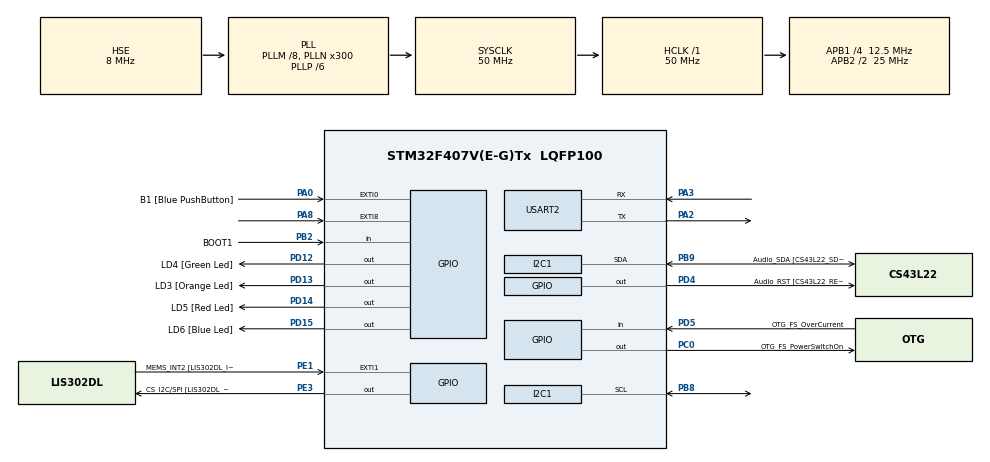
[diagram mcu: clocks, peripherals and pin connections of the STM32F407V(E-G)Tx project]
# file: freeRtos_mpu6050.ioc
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FREERTOS.Tasks01=defaultTask,24,128,StartDefaultTask,Default,NULL,Dynamic,NULL,NULL;SensorReadTask_,32,128,sensor_read_task,Default,NULL,Dynamic,NULL,NULL;PWMControlTask_,40,128,pwm_control_task,Default,NULL,Dynamic,NULL,NULL
FREERTOS.configUSE_NEWLIB_REENTRANT=1
I2C1.I2C_Mode=I2C_Fast
Mcu.Family=STM32F4
Mcu.Name=STM32F407V(E-G)Tx
Mcu.Package=LQFP100
NVIC.EXTI9_5_IRQn=true\:5\:0\:false\:false\:true\:true\:true\:true\:true
NVIC.PriorityGroup=NVIC_PRIORITYGROUP_4
NVIC.TIM6_DAC_IRQn=true\:15\:0\:false\:false\:true\:false\:false\:true\:true
NVIC.TimeBase=TIM6_DAC_IRQn
NVIC.TimeBaseIP=TIM6
PA0-WKUP.GPIO_Label=B1 [Blue PushButton]
PA0-WKUP.GPIO_ModeDefaultEXTI=GPIO_MODE_EVT_RISING
PA0-WKUP.GPIO_PuPd=GPIO_NOPULL
PA0-WKUP.Signal=GPXTI0
PA13.GPIO_Label=SWDIO
PA13.Mode=Serial_Wire
PA13.Signal=SYS_JTMS-SWDIO
PA14.GPIO_Label=SWCLK
PA14.Mode=Serial_Wire
PA14.Signal=SYS_JTCK-SWCLK
PA2.GPIO_PuPd=GPIO_PULLUP
PA2.Mode=Asynchronous
PA2.Signal=USART2_TX
PA3.GPIO_PuPd=GPIO_PULLUP
PA3.Mode=Asynchronous
PA3.Signal=USART2_RX
PA8.GPIO_PuPd=GPIO_PULLUP
PA8.Signal=GPXTI8
PB10.GPIO_Label=CLK_IN [MP45DT02_CLK]
PB10.GPIO_Mode=GPIO_MODE_AF_PP
PB10.GPIO_PuPd=GPIO_NOPULL
PB10.GPIO_Speed=GPIO_SPEED_FREQ_LOW
PB10.Signal=I2S2_CK
PB2.GPIO_Label=BOOT1
PB2.GPIO_Mode=GPIO_MODE_INPUT
PB2.GPIO_PuPd=GPIO_NOPULL
PB2.Signal=GPIO_Input
PB3.GPIO_Label=SWO
PB3.Signal=SYS_JTDO-SWO
PB8.Mode=I2C
PB8.Signal=I2C1_SCL
PB9.GPIO_Label=Audio_SDA [CS43L22_SDA]
PB9.GPIO_Mode=GPIO_MODE_AF_OD
PB9.GPIO_Pu=GPIO_PULLUP
PB9.GPIO_PuPd=GPIO_NOPULL
PB9.GPIO_Speed=GPIO_SPEED_FREQ_LOW
PB9.Mode=I2C
PB9.Signal=I2C1_SDA
PC0.GPIO_Label=OTG_FS_PowerSwitchOn
PC0.GPIO_PuPd=GPIO_NOPULL
PC0.GPIO_Speed=GPIO_SPEED_FREQ_LOW
PC0.PinState=GPIO_PIN_SET
PC0.Signal=GPIO_Output
PC10.GPIO_Label=I2S3_SCK [CS43L22_SCLK]
PC10.GPIO_Mode=GPIO_MODE_AF_PP
PC10.GPIO_PuPd=GPIO_NOPULL
PC10.GPIO_Speed=GPIO_SPEED_FREQ_LOW
PC10.Signal=I2S3_CK
PC12.GPIO_Label=I2S3_SD [CS43L22_SDIN]
PC12.GPIO_Mode=GPIO_MODE_AF_PP
PC12.GPIO_PuPd=GPIO_NOPULL
PC12.GPIO_Speed=GPIO_SPEED_FREQ_LOW
PC12.Signal=I2S3_SD
PC14-OSC32_IN.GPIO_Label=PC14-OSC32_IN
PC14-OSC32_IN.Mode=LSE-External-Oscillator
PC14-OSC32_IN.Signal=RCC_OSC32_IN
PC15-OSC32_OUT.GPIO_Label=PC15-OSC32_OUT
PC15-OSC32_OUT.Mode=LSE-External-Oscillator
PC15-OSC32_OUT.Signal=RCC_OSC32_OUT
PC3.GPIO_Label=PDM_OUT [MP45DT02_DOUT]
PC3.GPIO_Mode=GPIO_MODE_AF_PP
PC3.GPIO_PuPd=GPIO_NOPULL
PC3.GPIO_Speed=GPIO_SPEED_FREQ_LOW
PC3.Signal=I2S2_SD
PD12.GPIO_Label=LD4 [Green Led]
PD12.GPIO_PuPd=GPIO_NOPULL
PD12.GPIO_Speed=GPIO_SPEED_FREQ_LOW
PD12.Signal=GPIO_Output
PD13.GPIO_Label=LD3 [Orange Led]
PD13.GPIO_PuPd=GPIO_NOPULL
PD13.GPIO_Speed=GPIO_SPEED_FREQ_LOW
PD13.Signal=GPIO_Output
PD14.GPIO_Label=LD5 [Red Led]
PD14.GPIO_PuPd=GPIO_NOPULL
PD14.GPIO_Speed=GPIO_SPEED_FREQ_LOW
PD14.Signal=GPIO_Output
PD15.GPIO_Label=LD6 [Blue Led]
PD15.GPIO_PuPd=GPIO_NOPULL
PD15.GPIO_Speed=GPIO_SPEED_FREQ_LOW
PD15.Signal=GPIO_Output
PD4.GPIO_Label=Audio_RST [CS43L22_RESET]
PD4.GPIO_PuPd=GPIO_NOPULL
PD4.GPIO_Speed=GPIO_SPEED_FREQ_LOW
PD4.Signal=GPIO_Output
PD5.GPIO_Label=OTG_FS_OverCurrent
PD5.GPIO_Mode=GPIO_MODE_INPUT
PD5.GPIO_PuPd=GPIO_NOPULL
PD5.Signal=GPIO_Input
PE1.GPIO_Label=MEMS_INT2 [LIS302DL_INT2]
PE1.GPIO_ModeDefaultEXTI=GPIO_MODE_EVT_RISING
PE1.GPIO_PuPd=GPIO_NOPULL
PE1.Signal=GPXTI1
PE3.GPIO_Label=CS_I2C/SPI [LIS302DL_CS_I2C/SPI]
PE3.GPIO_PuPd=GPIO_NOPULL
PE3.GPIO_Speed=GPIO_SPEED_FREQ_LOW
PE3.Signal=GPIO_Output
PH0-OSC_IN.GPIO_Label=PH0-OSC_IN
PH0-OSC_IN.Mode=HSE-External-Oscillator
PH0-OSC_IN.Signal=RCC_OSC_IN
PH1-OSC_OUT.GPIO_Label=PH1-OSC_OUT
PH1-OSC_OUT.Mode=HSE-External-Oscillator
PH1-OSC_OUT.Signal=RCC_OSC_OUT
ProjectManager.HeapSize=0x200
ProjectManager.StackSize=0x400
ProjectManager.TargetToolchain=STM32CubeIDE
RCC.48MHZClocksFreq_Value=42857142.85714286
RCC.AHBFreq_Value=50000000
RCC.APB1CLKDivider=RCC_HCLK_DIV4
RCC.APB1Freq_Value=12500000
RCC.APB1TimFreq_Value=25000000
RCC.APB2CLKDivider=RCC_HCLK_DIV2
RCC.APB2Freq_Value=25000000
RCC.APB2TimFreq_Value=50000000
RCC.CortexFreq_Value=50000000
RCC.HCLKFreq_Value=50000000
RCC.HSE_VALUE=8000000
RCC.HSI_VALUE=16000000
RCC.PLLM=8
RCC.PLLN=300
RCC.PLLP=RCC_PLLP_DIV6
RCC.PLLQ=7
RCC.PLLSourceVirtual=RCC_PLLSOURCE_HSE
RCC.SYSCLKFreq_VALUE=50000000
RCC.SYSCLKSource=RCC_SYSCLKSOURCE_PLLCLK
RCC.VCOOutputFreq_Value=300000000
USART2.VirtualMode=VM_ASYNC
VP_FREERTOS_VS_CMSIS_V2.Mode=CMSIS_V2
VP_SYS_VS_tim6.Mode=TIM6
board=STM32F407G-DISC1

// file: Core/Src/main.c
/* USER CODE BEGIN Header */
/**
  ******************************************************************************
  * @file           : main.c
  * @brief          : Main program body
  ******************************************************************************
  * @attention
  *
  * Copyright (c) 2026 STMicroelectronics.
  * All rights reserved.
  *
  * This software is licensed under terms that can be found in the LICENSE file
  * in the root directory of this software component.
  * If no LICENSE file comes with this software, it is provided AS-IS.
  *
  ******************************************************************************
  */
/* USER CODE END Header */
#include "main.h"
#include "cmsis_os.h"

/* USER CODE BEGIN Includes */
#include "stdio.h"
#include "string.h"
#include "mpu6050.h"
#include<stdarg.h>
#include <math.h>
#include "kalman_filter.h"
#include <limits.h>
/* USER CODE END Includes */

/* USER CODE BEGIN PD */
#define 	TRUE	1
#define 	FALSE	0

#define ANGLE_POS_MIN 0
#define ANGLE_POS_MAX 90

#define PWM_PULSE_MIN 0
#define PWM_PULSE_MAX 1000
/* USER CODE END PD */

I2C_HandleTypeDef hi2c1;

UART_HandleTypeDef huart2;

/* Definitions for defaultTask */
osThreadId_t defaultTaskHandle;
const osThreadAttr_t defaultTask_attributes = {
  .name = "defaultTask",
  .stack_size = 128 * 4,
  .priority = (osPriority_t) osPriorityNormal,
};
/* Definitions for SensorReadTask_ */
osThreadId_t SensorReadTask_Handle;
const osThreadAttr_t SensorReadTask__attributes = {
  .name = "SensorReadTask_",
  .stack_size = 128 * 4,
  .priority = (osPriority_t) osPriorityAboveNormal,
};
/* Definitions for PWMControlTask_ */
osThreadId_t PWMControlTask_Handle;
const osThreadAttr_t PWMControlTask__attributes = {
  .name = "PWMControlTask_",
  .stack_size = 128 * 4,
  .priority = (osPriority_t) osPriorityHigh,
};
/* USER CODE BEGIN PV */
TIM_HandleTypeDef htim4;

uint32_t g_counter = 0;
volatile uint32_t g_channel_1_state = 800;
volatile uint32_t g_channel_2_state = 400;
float kalman_angle;

const mpu6050_accel_data_t error_data = {
		.x = 250,
		.y = -200,
		.z =156
};
/* USER CODE END PV */

void SystemClock_Config(void);
static void MX_GPIO_Init(void);
static void MX_I2C1_Init(void);
static void MX_USART2_UART_Init(void);
void StartDefaultTask(void *argument);
void sensor_read_task(void *argument);
void pwm_control_task(void *argument);

/* USER CODE BEGIN PFP */
void Timer4_init(void);
/* USER CODE END PFP */

/* USER CODE BEGIN 0 */
long map(long x,long in_min,long in_max,long out_min,long out_max){

	long result = ((x-in_min)*(out_max-out_min)/(in_max -in_min))+out_min;

	if(result > out_max){
		result=out_max;
	}
	else if(result <out_min){
		result=out_min;
	}

	return result;
}

void change_pwm_duty_cycle(uint32_t pulse,uint8_t channel){
	__HAL_TIM_SET_COMPARE(&htim4,channel,pulse);
}

void HAL_GPIO_EXTI_Callback(uint16_t GPIO_Pin)
{

	if(GPIO_Pin == GPIO_PIN_8){
		mpu6050_interrupt_handle(&hi2c1);
	}
}

void HAL_TIM_PWM_PulseFinishedCallback(TIM_HandleTypeDef *htim)
{

	if(htim->Channel == HAL_TIM_ACTIVE_CHANNEL_1)
	g_channel_1_state = 0;

	if(htim->Channel == HAL_TIM_ACTIVE_CHANNEL_2)
	g_channel_2_state = 0;
}
/* USER CODE END 0 */

int main(void)
{

  /* MCU Configuration--------------------------------------------------------*/

  /* Reset of all peripherals, Initializes the Flash interface and the Systick. */
  HAL_Init();

  /* Configure the system clock */
  SystemClock_Config();

  /* Initialize all configured peripherals */
  MX_GPIO_Init();
  MX_I2C1_Init();
  MX_USART2_UART_Init();
  /* USER CODE BEGIN 2 */

  Timer4_init();

	__HAL_TIM_ENABLE_IT(&htim4,TIM_IT_UPDATE);//updateevent interrupt enable ediliyor

	HAL_TIM_PWM_Start_IT(&htim4, TIM_CHANNEL_1);
	HAL_TIM_PWM_Start_IT(&htim4, TIM_CHANNEL_2);

	if(mpu6050_init(&hi2c1)!= MPU6050_OK){
		printmsg("error occured when MPU6050 init\r\n");
	}
	else{
		printmsg("mpu6050 initializition done succesfully\r\n");
	}

	mpu6050_disable_interrupts(&hi2c1, ALL_INT);
	mpu6050_interrupt_config(&hi2c1, INT_LEVEL_ACTIVE_HIGH);
	mpu6050_enable_interrupts(&hi2c1, RAW_RDY_INT);

	if(mpu6050_Set_LPF(&hi2c1, MPU6050_BANDWITH_20)!=MPU6050_OK){
		Error_Handler();
	}
  /* USER CODE END 2 */

  /* Init scheduler */
  osKernelInitialize();

  /* Create the thread(s) */
  /* creation of defaultTask */
  defaultTaskHandle = osThreadNew(StartDefaultTask, NULL, &defaultTask_attributes);

  /* creation of SensorReadTask_ */
  SensorReadTask_Handle = osThreadNew(sensor_read_task, NULL, &SensorReadTask__attributes);

  /* creation of PWMControlTask_ */
  PWMControlTask_Handle = osThreadNew(pwm_control_task, NULL, &PWMControlTask__attributes);

  /* Start scheduler */
  osKernelStart();

  /* We should never get here as control is now taken by the scheduler */

  /* Infinite loop */
  while (1)
  {

    /* USER CODE BEGIN 3 */

#ifdef PWM_DEBUG
		g_counter = __HAL_TIM_GET_COUNTER(&htim4);
#endif

  }
  /* USER CODE END 3 */
}

void SystemClock_Config(void)
{
  RCC_OscInitTypeDef RCC_OscInitStruct = {0};
  RCC_ClkInitTypeDef RCC_ClkInitStruct = {0};

  /** Configure the main internal regulator output voltage
  */
  __HAL_RCC_PWR_CLK_ENABLE();
  __HAL_PWR_VOLTAGESCALING_CONFIG(PWR_REGULATOR_VOLTAGE_SCALE1);

  /** Initializes the RCC Oscillators according to the specified parameters
  * in the RCC_OscInitTypeDef structure.
  */
  RCC_OscInitStruct.OscillatorType = RCC_OSCILLATORTYPE_HSE;
  RCC_OscInitStruct.HSEState = RCC_HSE_ON;
  RCC_OscInitStruct.PLL.PLLState = RCC_PLL_ON;
  RCC_OscInitStruct.PLL.PLLSource = RCC_PLLSOURCE_HSE;
  RCC_OscInitStruct.PLL.PLLM = 8;
  RCC_OscInitStruct.PLL.PLLN = 300;
  RCC_OscInitStruct.PLL.PLLP = RCC_PLLP_DIV6;
  RCC_OscInitStruct.PLL.PLLQ = 7;
  if (HAL_RCC_OscConfig(&RCC_OscInitStruct) != HAL_OK)
  {
    Error_Handler();
  }

  /** Initializes the CPU, AHB and APB buses clocks
  */
  RCC_ClkInitStruct.ClockType = RCC_CLOCKTYPE_HCLK|RCC_CLOCKTYPE_SYSCLK
                              |RCC_CLOCKTYPE_PCLK1|RCC_CLOCKTYPE_PCLK2;
  RCC_ClkInitStruct.SYSCLKSource = RCC_SYSCLKSOURCE_PLLCLK;
  RCC_ClkInitStruct.AHBCLKDivider = RCC_SYSCLK_DIV1;
  RCC_ClkInitStruct.APB1CLKDivider = RCC_HCLK_DIV4;
  RCC_ClkInitStruct.APB2CLKDivider = RCC_HCLK_DIV2;

  if (HAL_RCC_ClockConfig(&RCC_ClkInitStruct, FLASH_LATENCY_1) != HAL_OK)
  {
    Error_Handler();
  }
}

static void MX_I2C1_Init(void)
{

  hi2c1.Instance = I2C1;
  hi2c1.Init.ClockSpeed = 400000;
  hi2c1.Init.DutyCycle = I2C_DUTYCYCLE_2;
  hi2c1.Init.OwnAddress1 = 0;
  hi2c1.Init.AddressingMode = I2C_ADDRESSINGMODE_7BIT;
  hi2c1.Init.DualAddressMode = I2C_DUALADDRESS_DISABLE;
  hi2c1.Init.OwnAddress2 = 0;
  hi2c1.Init.GeneralCallMode = I2C_GENERALCALL_DISABLE;
  hi2c1.Init.NoStretchMode = I2C_NOSTRETCH_DISABLE;
  if (HAL_I2C_Init(&hi2c1) != HAL_OK)
  {
    Error_Handler();
  }
  /* USER CODE BEGIN I2C1_Init 2 */

	//hi2c.Init.ClockSpeed=400000;

  /* USER CODE END I2C1_Init 2 */

}

static void MX_USART2_UART_Init(void)
{

  huart2.Instance = USART2;
  huart2.Init.BaudRate = 115200;
  huart2.Init.WordLength = UART_WORDLENGTH_8B;
  huart2.Init.StopBits = UART_STOPBITS_1;
  huart2.Init.Parity = UART_PARITY_NONE;
  huart2.Init.Mode = UART_MODE_TX_RX;
  huart2.Init.HwFlowCtl = UART_HWCONTROL_NONE;
  huart2.Init.OverSampling = UART_OVERSAMPLING_16;
  if (HAL_UART_Init(&huart2) != HAL_OK)
  {
    Error_Handler();
  }

}

static void MX_GPIO_Init(void)
{
  GPIO_InitTypeDef GPIO_InitStruct = {0};

  /* GPIO Ports Clock Enable */
  __HAL_RCC_GPIOE_CLK_ENABLE();
  __HAL_RCC_GPIOC_CLK_ENABLE();
  __HAL_RCC_GPIOH_CLK_ENABLE();
  __HAL_RCC_GPIOA_CLK_ENABLE();
  __HAL_RCC_GPIOB_CLK_ENABLE();
  __HAL_RCC_GPIOD_CLK_ENABLE();

  /*Configure GPIO pin Output Level */
  HAL_GPIO_WritePin(CS_I2C_SPI_GPIO_Port, CS_I2C_SPI_Pin, GPIO_PIN_RESET);

  /*Configure GPIO pin Output Level */
  HAL_GPIO_WritePin(OTG_FS_PowerSwitchOn_GPIO_Port, OTG_FS_PowerSwitchOn_Pin, GPIO_PIN_SET);

  /*Configure GPIO pin Output Level */
  HAL_GPIO_WritePin(GPIOD, LD4_Pin|LD3_Pin|LD5_Pin|LD6_Pin
                          |Audio_RST_Pin, GPIO_PIN_RESET);

  /*Configure GPIO pin : CS_I2C_SPI_Pin */
  GPIO_InitStruct.Pin = CS_I2C_SPI_Pin;
  GPIO_InitStruct.Mode = GPIO_MODE_OUTPUT_PP;
  GPIO_InitStruct.Pull = GPIO_NOPULL;
  GPIO_InitStruct.Speed = GPIO_SPEED_FREQ_LOW;
  HAL_GPIO_Init(CS_I2C_SPI_GPIO_Port, &GPIO_InitStruct);

  /*Configure GPIO pin : OTG_FS_PowerSwitchOn_Pin */
  GPIO_InitStruct.Pin = OTG_FS_PowerSwitchOn_Pin;
  GPIO_InitStruct.Mode = GPIO_MODE_OUTPUT_PP;
  GPIO_InitStruct.Pull = GPIO_NOPULL;
  GPIO_InitStruct.Speed = GPIO_SPEED_FREQ_LOW;
  HAL_GPIO_Init(OTG_FS_PowerSwitchOn_GPIO_Port, &GPIO_InitStruct);

  /*Configure GPIO pin : PDM_OUT_Pin */
  GPIO_InitStruct.Pin = PDM_OUT_Pin;
  GPIO_InitStruct.Mode = GPIO_MODE_AF_PP;
  GPIO_InitStruct.Pull = GPIO_NOPULL;
  GPIO_InitStruct.Speed = GPIO_SPEED_FREQ_LOW;
  GPIO_InitStruct.Alternate = GPIO_AF5_SPI2;
  HAL_GPIO_Init(PDM_OUT_GPIO_Port, &GPIO_InitStruct);

  /*Configure GPIO pin : B1_Pin */
  GPIO_InitStruct.Pin = B1_Pin;
  GPIO_InitStruct.Mode = GPIO_MODE_EVT_RISING;
  GPIO_InitStruct.Pull = GPIO_NOPULL;
  HAL_GPIO_Init(B1_GPIO_Port, &GPIO_InitStruct);

  /*Configure GPIO pin : BOOT1_Pin */
  GPIO_InitStruct.Pin = BOOT1_Pin;
  GPIO_InitStruct.Mode = GPIO_MODE_INPUT;
  GPIO_InitStruct.Pull = GPIO_NOPULL;
  HAL_GPIO_Init(BOOT1_GPIO_Port, &GPIO_InitStruct);

  /*Configure GPIO pin : CLK_IN_Pin */
  GPIO_InitStruct.Pin = CLK_IN_Pin;
  GPIO_InitStruct.Mode = GPIO_MODE_AF_PP;
  GPIO_InitStruct.Pull = GPIO_NOPULL;
  GPIO_InitStruct.Speed = GPIO_SPEED_FREQ_LOW;
  GPIO_InitStruct.Alternate = GPIO_AF5_SPI2;
  HAL_GPIO_Init(CLK_IN_GPIO_Port, &GPIO_InitStruct);

  /*Configure GPIO pins : LD4_Pin LD3_Pin LD5_Pin LD6_Pin
                           Audio_RST_Pin */
 // GPIO_InitStruct.Pin = LD4_Pin|LD3_Pin|LD5_Pin|LD6_Pin
 //                         |Audio_RST_Pin;
 // GPIO_InitStruct.Mode = GPIO_MODE_OUTPUT_PP;
 // GPIO_InitStruct.Pull = GPIO_NOPULL;
 // GPIO_InitStruct.Speed = GPIO_SPEED_FREQ_LOW;
 // HAL_GPIO_Init(GPIOD, &GPIO_InitStruct);

  /*Configure GPIO pin : PA8 */
  GPIO_InitStruct.Pin = GPIO_PIN_8;
  GPIO_InitStruct.Mode = GPIO_MODE_IT_RISING;
  GPIO_InitStruct.Pull = GPIO_PULLUP;
  HAL_GPIO_Init(GPIOA, &GPIO_InitStruct);

  /*Configure GPIO pins : I2S3_SCK_Pin I2S3_SD_Pin */
  GPIO_InitStruct.Pin = I2S3_SCK_Pin|I2S3_SD_Pin;
  GPIO_InitStruct.Mode = GPIO_MODE_AF_PP;
  GPIO_InitStruct.Pull = GPIO_NOPULL;
  GPIO_InitStruct.Speed = GPIO_SPEED_FREQ_LOW;
  GPIO_InitStruct.Alternate = GPIO_AF6_SPI3;
  HAL_GPIO_Init(GPIOC, &GPIO_InitStruct);

  /*Configure GPIO pin : OTG_FS_OverCurrent_Pin */
  GPIO_InitStruct.Pin = OTG_FS_OverCurrent_Pin;
  GPIO_InitStruct.Mode = GPIO_MODE_INPUT;
  GPIO_InitStruct.Pull = GPIO_NOPULL;
  HAL_GPIO_Init(OTG_FS_OverCurrent_GPIO_Port, &GPIO_InitStruct);

  /*Configure GPIO pin : MEMS_INT2_Pin */
  GPIO_InitStruct.Pin = MEMS_INT2_Pin;
  GPIO_InitStruct.Mode = GPIO_MODE_EVT_RISING;
  GPIO_InitStruct.Pull = GPIO_NOPULL;
  HAL_GPIO_Init(MEMS_INT2_GPIO_Port, &GPIO_InitStruct);

  /* EXTI interrupt init*/
  HAL_NVIC_SetPriority(EXTI9_5_IRQn, 5, 0);
  HAL_NVIC_EnableIRQ(EXTI9_5_IRQn);

}

/* USER CODE BEGIN 4 */
void Timer4_init(void){

	htim4.Instance = TIM4;
	htim4.Init.Period = 1000-1;
	htim4.Init.Prescaler = 50000-1;

	if(HAL_TIM_PWM_Init(&htim4) != HAL_OK){
		Error_Handler();
	}

	TIM_OC_InitTypeDef tim4PWM;

	memset(&tim4PWM,0,sizeof(tim4PWM));
	tim4PWM.Pulse = ((htim4.Init.Period+1) * 0)/10;//%0duty cycle
	tim4PWM.OCPolarity = TIM_OCPOLARITY_HIGH;
	tim4PWM.OCMode = TIM_OCMODE_PWM1;
	if(HAL_TIM_PWM_ConfigChannel(&htim4, &tim4PWM, TIM_CHANNEL_1)!= HAL_OK){
		Error_Handler();
	}

	tim4PWM.Pulse = ((htim4.Init.Period+1) * 0)/10;//%0duty cycle
	if(HAL_TIM_PWM_ConfigChannel(&htim4, &tim4PWM, TIM_CHANNEL_2)!= HAL_OK){
		Error_Handler();
	}

}

void printmsg(char *format,...)
 {

	char str[80];

	/*Extract the the argument list using VA apis */
	va_list args;
	va_start(args, format);
	vsprintf(str, format,args);
	HAL_UART_Transmit(&huart2,(uint8_t *)str, strlen(str),HAL_MAX_DELAY);
	va_end(args);

 }

void mpu6050_raw_data_ready_callback(void){
	BaseType_t xHigherPriorityTaskWoken;
	xHigherPriorityTaskWoken = pdFALSE;

	if(SensorReadTask_Handle){
	xTaskNotifyFromISR( SensorReadTask_Handle,
	                               0,
	                               eNoAction,
	                               &xHigherPriorityTaskWoken );

	}

	    portYIELD_FROM_ISR( xHigherPriorityTaskWoken );
}
/* USER CODE END 4 */

void StartDefaultTask(void *argument)
{
  for(;;)
  {
    osDelay(1);
  }
}

void sensor_read_task(void *argument)
{
  /* USER CODE BEGIN sensor_read_task */
	mpu6050_accel_data_t acceleration_datas;
	uint32_t accelerometre_y_z=0;
  /* Infinite loop */
  for(;;)
  {
	if(mpu6050_read_accelerometer_data(&hi2c1, &acceleration_datas)!= MPU6050_OK){
		Error_Handler();
	}
	mpu6050_calibrate_accelerometer_data(&acceleration_datas, &error_data);
	accelerometre_y_z = acceleration_datas.y << 16;
	accelerometre_y_z |= acceleration_datas.z;

	//send notf. to the pwm control task
	xTaskNotify((TaskHandle_t)PWMControlTask_Handle,accelerometre_y_z,eSetValueWithOverwrite);

	//enter blocked state untill a dirct notification is received from the ISR
	xTaskNotifyWait(0, 0, NULL, portMAX_DELAY);

  }
  /* USER CODE END sensor_read_task */
}

void pwm_control_task(void *argument)
{
  /* USER CODE BEGIN pwm_control_task */
	int16_t roll_angle;

	uint32_t previous_tick= osKernelGetTickCount();

	mpu6050_accel_data_t acceleration_datas;

	KalmanFilter kf;
	kalman_filter_init(&kf);
	float dt;

	uint32_t accelerometre_y_z=0;
  /* Infinite loop */
  for(;;)
  {

	  // wakes up on notification  and extract acceleration_datas
	//enter blocked state untill a dirct notification is received from the sensor_read_task
	xTaskNotifyWait(0, ULONG_MAX, &accelerometre_y_z, portMAX_DELAY);
	acceleration_datas.z= (int16_t)accelerometre_y_z & 0xFFFF;
	acceleration_datas.y= (int16_t)(accelerometre_y_z >> 16) & 0xFFFF;

	uint32_t current_tick = osKernelGetTickCount();
	dt = (current_tick-previous_tick)/1000.0f;
	previous_tick=current_tick;

	roll_angle = atan2(acceleration_datas.y,acceleration_datas.z)*(180/M_PI);
	kalman_angle = kalman_filter_get_angle(&kf, roll_angle, dt);
	uint8_t channel= (kalman_angle < 0) ? TIM_CHANNEL_1 : TIM_CHANNEL_2;
	kalman_angle = (kalman_angle < 0) ? -kalman_angle : kalman_angle;
	uint32_t pwm_pulse = map(kalman_angle, ANGLE_POS_MIN, ANGLE_POS_MAX, PWM_PULSE_MIN, PWM_PULSE_MAX);
	change_pwm_duty_cycle(pwm_pulse, channel);
  }
  /* USER CODE END pwm_control_task */
}

void HAL_TIM_PeriodElapsedCallback(TIM_HandleTypeDef *htim)
{
  if (htim->Instance == TIM6)
  {
    HAL_IncTick();
  }
  /* USER CODE BEGIN Callback 1 */
	g_counter = 0;
	g_channel_1_state = 800;
	g_channel_2_state = 400;
  /* USER CODE END Callback 1 */
}

void Error_Handler(void)
{
  __disable_irq();
  while (1)
  {
  }
}
